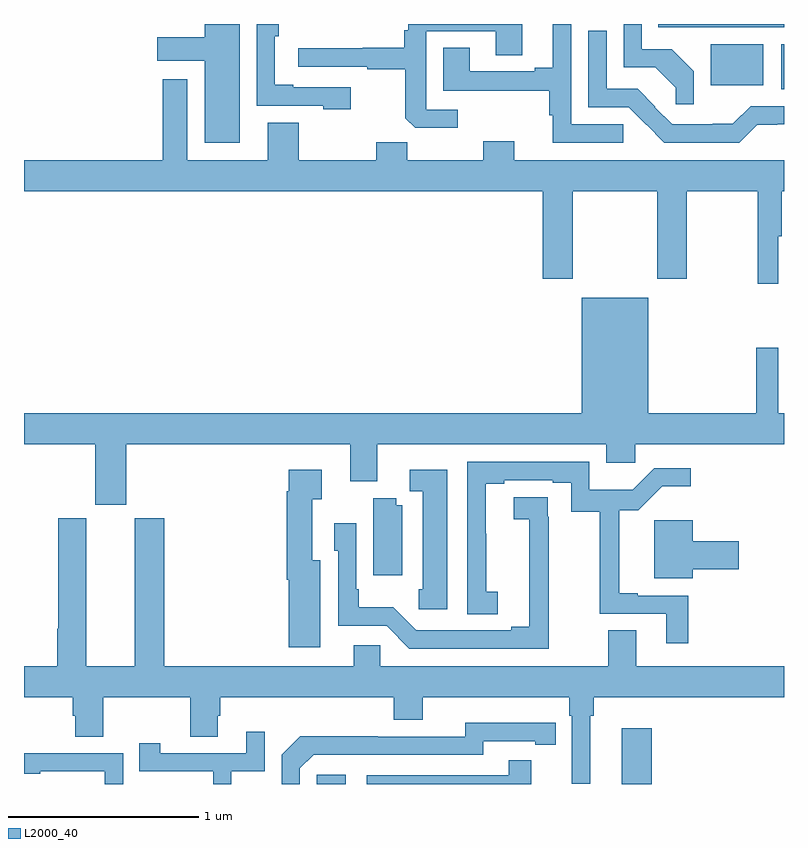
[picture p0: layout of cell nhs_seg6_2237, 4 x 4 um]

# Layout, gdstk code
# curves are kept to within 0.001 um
import gdstk
lib = gdstk.Library(unit=1e-6, precision=1e-09)
def R(c, l, rs):  # rectangles x0, y0, x1, y1
    for r in rs: c.add(gdstk.rectangle(r[:2], r[2:], *l))
def P(c, l, *ps):  # polygons
    for p in ps: c.add(gdstk.Polygon(p, *l))
L2000_40 = (2000, 40)

nhs_seg6_2237 = lib.new_cell('nhs_seg6_2237')
R(nhs_seg6_2237, L2000_40, [(244.542,993.5,244.693,993.55), (246.146,993.5,246.305,993.793), (246.986,997.157,247,997.393), (246.614,997.178,246.892,997.393), (246.337,997.482,247,997.5)])
P(nhs_seg6_2237, L2000_40, [(246.525,997.252),(246.409,997.368),(246.252,997.368),(246.252,997.5),(246.156,997.5),(246.156,997.272),(246.322,997.272),(246.43,997.164),(246.43,997.077),(246.525,997.077)],
  [(245.284,997.05),(245.118,997.05),(245.118,997.461),(245.483,997.461),(245.483,997.336),(245.623,997.336),(245.623,997.5),(245.022,997.5),(245.022,997.468),(245.002,997.468),(245.002,997.376),(244.783,997.376),(244.783,997.372),(244.443,997.372),(244.443,997.275),(244.807,997.275),(244.807,997.263),(245.007,997.263),(245.007,997.005),(245.059,996.954),(245.284,996.954)],
  [(244.135,997.5),(243.95,997.5),(243.95,997.429),(243.702,997.429),(243.702,997.307),(243.95,997.307),(243.95,996.875),(244.135,996.875)],
  [(244.72,997.167),(244.417,997.167),(244.417,997.18),(244.32,997.18),(244.32,997.436),(244.34,997.436),(244.34,997.5),(244.224,997.5),(244.224,997.071),(244.575,997.071),(244.575,997.052),(244.72,997.052)],
  [(246.153,996.972),(245.88,996.972),(245.88,997.5),(245.783,997.5),(245.783,997.271),(245.687,997.271),(245.687,997.251),(245.347,997.251),(245.347,997.376),(245.207,997.376),(245.207,997.15),(245.764,997.15),(245.764,997.019),(245.783,997.019),(245.783,996.876),(246.153,996.876)],
  [(246.86,996.971),(247,996.972),(247,997.068),(246.825,997.068),(246.731,996.974),(246.626,996.974),(246.626,996.972),(246.411,996.972),(246.321,997.062),(246.323,997.064),(246.229,997.158),(246.066,997.158),(246.066,997.465),(245.97,997.465),(245.97,997.062),(246.183,997.062),(246.371,996.876),(246.765,996.876)],
  [(245.581,996.883),(245.417,996.883),(245.417,996.784),(245.017,996.784),(245.017,996.877),(244.853,996.877),(244.853,996.784),(244.447,996.784),(244.447,996.979),(244.283,996.979),(244.283,996.784),(243.859,996.784),(243.859,997.21),(243.731,997.21),(243.731,996.784),(243,996.784),(243,996.62),(245.729,996.62),(245.729,996.159),(245.889,996.159),(245.889,996.62),(246.334,996.62),(246.334,996.159),(246.489,996.159),(246.489,996.62),(246.861,996.62),(246.861,996.132),(246.971,996.132),(246.971,996.384),(246.989,996.384),(246.989,996.62),(247,996.62),(247,996.784),(245.581,996.784)],
  [(243.538,995.288),(244.718,995.288),(244.718,995.094),(244.858,995.094),(244.858,995.288),(246.065,995.288),(246.065,995.19),(246.217,995.19),(246.217,995.288),(247,995.288),(247,995.452),(246.97,995.452),(246.97,995.797),(246.853,995.797),(246.853,995.452),(246.286,995.452),(246.286,996.058),(245.936,996.058),(245.936,995.452),(243,995.452),(243,995.288),(243.374,995.288),(243.374,994.971),(243.538,994.971)],
  [(246.497,994.491),(246.229,994.491),(246.229,994.504),(246.134,994.504),(246.134,994.941),(246.233,994.941),(246.359,995.066),(246.508,995.066),(246.508,995.163),(246.318,995.163),(246.205,995.05),(245.976,995.05),(245.976,995.196),(245.334,995.196),(245.334,994.393),(245.494,994.393),(245.494,994.513),(245.433,994.513),(245.433,994.817),(245.431,994.817),(245.431,995.08),(245.527,995.08),(245.527,995.1),(245.783,995.1),(245.783,995.086),(245.88,995.086),(245.88,994.933),(246.031,994.933),(246.031,994.395),(246.38,994.395),(246.38,994.242),(246.497,994.242)],
  [(244.558,994.678),(244.516,994.678),(244.516,994.999),(244.567,994.999),(244.567,995.155),(244.394,995.155),(244.394,995.042),(244.382,995.042),(244.382,994.574),(244.394,994.574),(244.394,994.221),(244.558,994.221)],
  [(245.227,995.155),(245.031,995.155),(245.031,995.04),(245.099,995.04),(245.099,994.524),(245.077,994.524),(245.077,994.419),(245.227,994.419)],
  [(245.762,994.907),(245.756,994.907),(245.756,995.009),(245.577,995.009),(245.577,994.894),(245.659,994.894),(245.66,994.328),(245.564,994.328),(245.564,994.308),(245.064,994.308),(244.943,994.429),(244.762,994.429),(244.762,994.525),(244.749,994.525),(244.749,994.873),(244.632,994.873),(244.632,994.728),(244.653,994.728),(244.653,994.332),(244.908,994.332),(245.028,994.212),(245.762,994.212)],
  [(244.99,994.966),(244.958,994.966),(244.958,995.003),(244.838,995.003),(244.838,994.599),(244.99,994.599)],
  [(243.181,994.316),(243.176,994.316),(243.176,994.12),(243,994.12),(243,993.956),(243.257,993.956),(243.257,993.858),(243.269,993.858),(243.269,993.748),(243.417,993.748),(243.417,993.956),(243.874,993.956),(243.874,993.748),(244.021,993.748),(244.021,993.858),(244.034,993.858),(244.034,993.956),(244.946,993.956),(244.946,993.839),(245.098,993.839),(245.098,993.956),(245.87,993.956),(245.87,993.86),(245.883,993.86),(245.883,993.501),(245.98,993.501),(245.98,993.86),(245.999,993.86),(245.999,993.956),(247,993.956),(247,994.12),(246.223,994.12),(246.223,994.31),(246.076,994.31),(246.076,994.12),(244.875,994.12),(244.875,994.23),(244.736,994.23),(244.736,994.12),(243.737,994.12),(243.737,994.899),(243.584,994.899),(243.584,994.12),(243.328,994.12),(243.328,994.899),(243.181,994.899)],
  [(246.52,994.631),(246.763,994.631),(246.763,994.778),(246.52,994.778),(246.52,994.888),(246.317,994.888),(246.317,994.583),(246.52,994.583)],
  [(244.452,993.582),(244.524,993.654),(245.418,993.654),(245.418,993.726),(245.69,993.726),(245.69,993.706),(245.798,993.706),(245.798,993.822),(245.322,993.823),(245.322,993.75),(244.862,993.75),(244.862,993.752),(244.454,993.752),(244.356,993.654),(244.356,993.5),(244.452,993.5)],
  [(244.092,993.567),(244.266,993.567),(244.266,993.775),(244.169,993.775),(244.169,993.663),(243.718,993.663),(243.718,993.715),(243.607,993.715),(243.607,993.567),(243.996,993.567),(243.996,993.5),(244.092,993.5)],
  [(243.522,993.663),(243,993.663),(243,993.555),(243.085,993.555),(243.085,993.567),(243.426,993.567),(243.426,993.5),(243.522,993.5)],
  [(245.669,993.625),(245.551,993.625),(245.551,993.546),(244.803,993.546),(244.803,993.5),(245.669,993.5)])

lib.write_gds('nhs_seg6_2237.gds')
